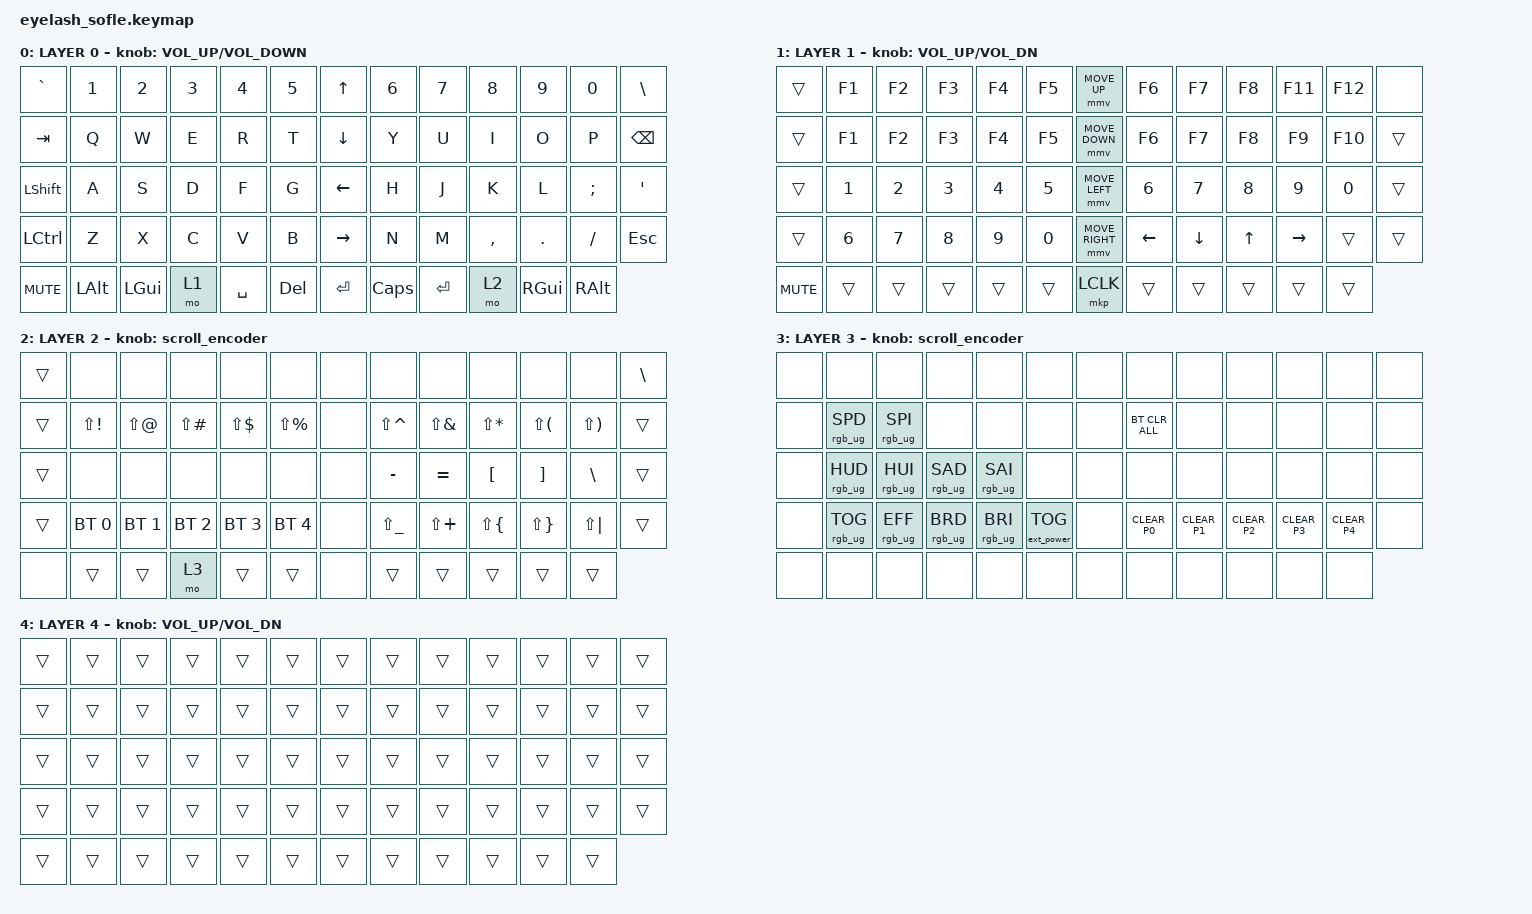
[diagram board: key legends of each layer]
#define ZMK_POINTING_DEFAULT_MOVE_VAL 1200  // 600
#define ZMK_POINTING_DEFAULT_SCRL_VAL 25   // 10

#include <input/processors.dtsi>
#include <zephyr/dt-bindings/input/input-event-codes.h>
#include <behaviors.dtsi>
#include <dt-bindings/zmk/bt.h>
#include <dt-bindings/zmk/ext_power.h>
#include <dt-bindings/zmk/keys.h>
#include <dt-bindings/zmk/pointing.h>
#include <dt-bindings/zmk/rgb.h>

&mmv_input_listener { input-processors = <&zip_xy_scaler 2 1>; };

&msc_input_listener { input-processors = <&zip_scroll_scaler 2 1>; };

&msc {
    acceleration-exponent = <1>;      // 0
    time-to-max-speed-ms = <100>;       // 300
    delay-ms = <0>;                   // 0
};

&mmv {
    time-to-max-speed-ms = <500>;
    acceleration-exponent = <1>;
    trigger-period-ms = <16>;
};

&soft_off { hold-time-ms = <2000>; };

/ {
    scroll_encoder: scroll_encoder {
        compatible = "zmk,behavior-sensor-rotate";
        #sensor-binding-cells = <0>;
        bindings = <&msc SCRL_DOWN>, <&msc SCRL_UP>;

        tap-ms = <100>;
    };

    behaviors {
    };

    combos { compatible = "zmk,combos"; };

    macros {
        CLEAR_P0: CLEAR_P0 {
            compatible = "zmk,behavior-macro";
            #binding-cells = <0>;
            bindings = <&bt BT_SEL 0 &bt BT_CLR>;
            label = "CLEAR_P0";
        };

        CLEAR_P1: CLEAR_P1 {
            compatible = "zmk,behavior-macro";
            #binding-cells = <0>;
            bindings = <&bt BT_SEL 1 &bt BT_CLR>;
            label = "CLEAR_P1";
        };

        CLEAR_P2: CLEAR_P2 {
            compatible = "zmk,behavior-macro";
            #binding-cells = <0>;
            bindings = <&bt BT_SEL 2 &bt BT_CLR>;
            label = "CLEAR_P2";
        };

        CLEAR_P3: CLEAR_P3 {
            compatible = "zmk,behavior-macro";
            #binding-cells = <0>;
            bindings = <&bt BT_SEL 3 &bt BT_CLR>;
            label = "CLEAR_P3";
        };

        CLEAR_P4: CLEAR_P4 {
            compatible = "zmk,behavior-macro";
            #binding-cells = <0>;
            bindings = <&bt BT_SEL 4 &bt BT_CLR>;
            label = "CLEAR_P4";
        };
    };

    keymap {
        compatible = "zmk,keymap";

        layer_0 {
            bindings = <
&kp GRAVE   &kp N1    &kp N2    &kp N3  &kp N4     &kp N5     &kp UP_ARROW    &kp N6    &kp N7     &kp N8     &kp N9    &kp N0    &kp BSLH
&kp TAB     &kp Q     &kp W     &kp E   &kp R      &kp T      &kp DOWN_ARROW  &kp Y     &kp U      &kp I      &kp O     &kp P     &kp BSPC
&kp LSHFT   &kp A     &kp S     &kp D   &kp F      &kp G      &kp LEFT_ARROW  &kp H     &kp J      &kp K      &kp L     &kp SEMI  &kp SQT
&kp LCTRL   &kp Z     &kp X     &kp C   &kp V      &kp B      &kp RIGHT       &kp N     &kp M      &kp COMMA  &kp DOT   &kp FSLH  &kp ESC
&kp C_MUTE  &kp LALT  &kp LGUI  &mo 1   &kp SPACE  &kp DEL    &kp RET         &kp CAPS  &kp ENTER  &mo 2      &kp RGUI  &kp RALT
            >;

            sensor-bindings = <&inc_dec_kp C_VOLUME_UP C_VOLUME_DOWN>;
            display-name = "LAYER 0";
        };

        layer_1 {
            bindings = <
&trans      &kp F1        &kp F2  &kp F3  &kp F4  &kp F5    &mmv MOVE_UP     &kp F6    &kp F7    &kp F8  &kp F11    &kp F12  &none
&trans      &kp F1        &kp F2  &kp F3  &kp F4  &kp F5    &mmv MOVE_DOWN   &kp F6    &kp F7    &kp F8  &kp F9     &kp F10  &trans
&trans      &kp N1        &kp N2  &kp N3  &kp N4  &kp N5    &mmv MOVE_LEFT   &kp N6    &kp N7    &kp N8  &kp N9     &kp N0   &trans
&trans      &kp NUMBER_6  &kp N7  &kp N8  &kp N9  &kp N0    &mmv MOVE_RIGHT  &kp LEFT  &kp DOWN  &kp UP  &kp RIGHT  &trans   &trans
&kp C_MUTE  &trans        &trans  &trans  &trans  &trans    &mkp LCLK        &trans    &trans    &trans  &trans     &trans
            >;

            sensor-bindings = <&inc_dec_kp C_VOLUME_UP C_VOL_DN>;
            display-name = "LAYER 1";
        };

        layer_2 {
            bindings = <
&trans  &none         &none         &none          &none         &none            &none  &none          &none         &none         &none         &none         &kp BSLH
&trans  &kp LS(EXCL)  &kp LS(AT)    &kp LS(POUND)  &kp LS(DLLR)  &kp LS(PRCNT)    &none  &kp LS(CARET)  &kp LS(AMPS)  &kp LS(STAR)  &kp LS(LPAR)  &kp LS(RPAR)  &trans
&trans  &none         &none         &none          &none         &none            &none  &kp MINUS      &kp EQUAL     &kp LBKT      &kp RBKT      &kp BSLH      &trans
&trans  &bt BT_SEL 0  &bt BT_SEL 1  &bt BT_SEL 2   &bt BT_SEL 3  &bt BT_SEL 4     &none  &kp LS(UNDER)  &kp LS(PLUS)  &kp LS(LBRC)  &kp LS(RBRC)  &kp LS(PIPE)  &trans
&none   &trans        &trans        &mo 3          &trans        &trans           &none  &trans         &trans        &trans        &trans        &trans
            >;

            display-name = "LAYER 2";
            sensor-bindings = <&scroll_encoder>;
            label = "Layer 2";
        };

        layer_3 {
            bindings = <
&none  &none            &none            &none            &none            &none                &none  &none           &none      &none      &none      &none      &none
&none  &rgb_ug RGB_SPD  &rgb_ug RGB_SPI  &none            &none            &none                &none  &bt BT_CLR_ALL  &none      &none      &none      &none      &none
&none  &rgb_ug RGB_HUD  &rgb_ug RGB_HUI  &rgb_ug RGB_SAD  &rgb_ug RGB_SAI  &none                &none  &none           &none      &none      &none      &none      &none
&none  &rgb_ug RGB_TOG  &rgb_ug RGB_EFF  &rgb_ug RGB_BRD  &rgb_ug RGB_BRI  &ext_power EP_TOG    &none  &CLEAR_P0       &CLEAR_P1  &CLEAR_P2  &CLEAR_P3  &CLEAR_P4  &none
&none  &none            &none            &none            &none            &none                &none  &none           &none      &none      &none      &none
            >;

            display-name = "LAYER 3";
            sensor-bindings = <&scroll_encoder>;
        };

        layer_4 {
            display-name = "LAYER 4";
            bindings = <
&trans  &trans  &trans  &trans  &trans  &trans    &trans  &trans  &trans  &trans  &trans  &trans  &trans
&trans  &trans  &trans  &trans  &trans  &trans    &trans  &trans  &trans  &trans  &trans  &trans  &trans
&trans  &trans  &trans  &trans  &trans  &trans    &trans  &trans  &trans  &trans  &trans  &trans  &trans
&trans  &trans  &trans  &trans  &trans  &trans    &trans  &trans  &trans  &trans  &trans  &trans  &trans
&trans  &trans  &trans  &trans  &trans  &trans    &trans  &trans  &trans  &trans  &trans  &trans
            >;

            sensor-bindings = <&inc_dec_kp C_VOLUME_UP C_VOL_DN>;
        };
    };
};
